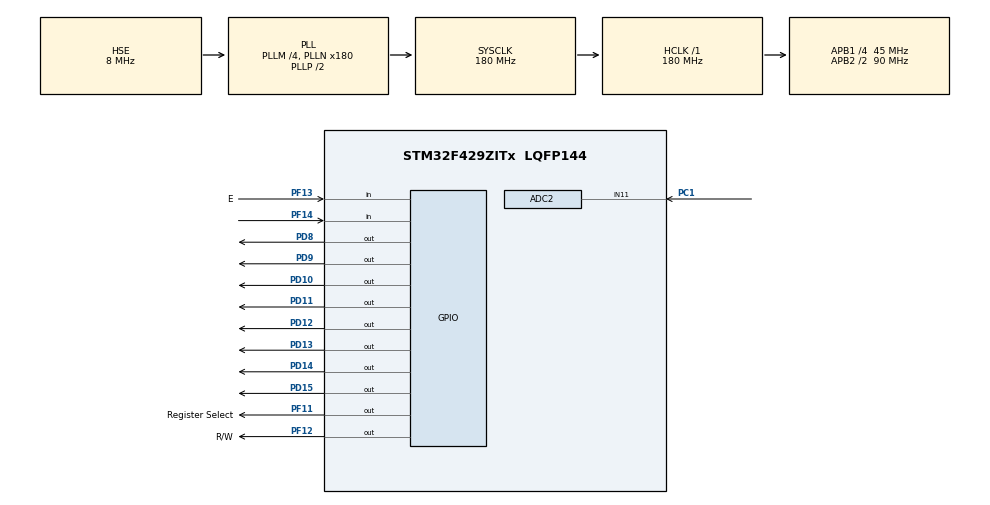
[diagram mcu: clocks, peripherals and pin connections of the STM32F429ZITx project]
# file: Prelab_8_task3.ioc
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ADC2.Channel-0\#ChannelRegularConversion=ADC_CHANNEL_11
ADC2.NbrOfConversionFlag=1
ADC2.Rank-0\#ChannelRegularConversion=1
ADC2.SamplingTime-0\#ChannelRegularConversion=ADC_SAMPLETIME_3CYCLES
Mcu.Family=STM32F4
Mcu.Name=STM32F429ZITx
Mcu.Package=LQFP144
NVIC.ADC_IRQn=true\:0\:0\:false\:false\:true\:true\:true\:true
NVIC.PriorityGroup=NVIC_PRIORITYGROUP_4
PC1.Signal=ADCx_IN11
PD10.Signal=GPIO_Output
PD11.Signal=GPIO_Output
PD12.Signal=GPIO_Output
PD13.Signal=GPIO_Output
PD14.Signal=GPIO_Output
PD15.Signal=GPIO_Output
PD8.Signal=GPIO_Output
PD9.Signal=GPIO_Output
PF11.GPIO_Label=Register Select
PF11.Signal=GPIO_Output
PF12.GPIO_Label=R/W
PF12.Signal=GPIO_Output
PF13.GPIO_Label=E
PF13.Signal=GPIO_Input
PF14.Signal=GPIO_Input
PH0/OSC_IN.Mode=HSE-External-Oscillator
PH0/OSC_IN.Signal=RCC_OSC_IN
PH1/OSC_OUT.Mode=HSE-External-Oscillator
PH1/OSC_OUT.Signal=RCC_OSC_OUT
ProjectManager.HeapSize=0x200
ProjectManager.StackSize=0x400
ProjectManager.TargetToolchain=EWARM V8.50
RCC.48MHZClocksFreq_Value=90000000
RCC.AHBFreq_Value=180000000
RCC.APB1CLKDivider=RCC_HCLK_DIV4
RCC.APB1Freq_Value=45000000
RCC.APB1TimFreq_Value=90000000
RCC.APB2CLKDivider=RCC_HCLK_DIV2
RCC.APB2Freq_Value=90000000
RCC.APB2TimFreq_Value=180000000
RCC.CortexFreq_Value=180000000
RCC.HCLKFreq_Value=180000000
RCC.HSE_VALUE=8000000
RCC.HSI_VALUE=16000000
RCC.LSE_VALUE=32768
RCC.PLLM=4
RCC.PLLN=180
RCC.PLLSourceVirtual=RCC_PLLSOURCE_HSE
RCC.SYSCLKFreq_VALUE=180000000
RCC.SYSCLKSource=RCC_SYSCLKSOURCE_PLLCLK
RCC.VCOOutputFreq_Value=360000000
SH.ADCx_IN11.0=ADC2_IN11,IN11
board=custom

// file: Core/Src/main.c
/* USER CODE BEGIN Header */
/**
  ******************************************************************************
  * @file           : main.c
  * @brief          : Main program body
  ******************************************************************************
  * @attention
  *
  * Copyright (c) 2023 STMicroelectronics.
  * All rights reserved.
  *
  * This software is licensed under terms that can be found in the LICENSE file
  * in the root directory of this software component.
  * If no LICENSE file comes with this software, it is provided AS-IS.
  *
  ******************************************************************************
  */
/* USER CODE END Header */
#include "main.h"

/* USER CODE BEGIN PD */
void LCD_init();
void LCD_SendCmd(uint8_t);
void LCD_SendData(uint8_t);
void int_to_str(uint8_t);
/* USER CODE END PD */

ADC_HandleTypeDef hadc2;

/* USER CODE BEGIN PV */
uint8_t data = 0;
uint16_t reading = 0;
uint8_t num_out[3];
/* USER CODE END PV */

void SystemClock_Config(void);
static void MX_GPIO_Init(void);
static void MX_ADC2_Init(void);

int main(void)
{

  /* MCU Configuration--------------------------------------------------------*/

  /* Reset of all peripherals, Initializes the Flash interface and the Systick. */
  HAL_Init();

  /* Configure the system clock */
  SystemClock_Config();

  /* Initialize all configured peripherals */
  MX_GPIO_Init();
  MX_ADC2_Init();
  /* USER CODE BEGIN 2 */
// PD8...PD15 is data out to display
// PF11 = RS, PF12 = R/W, PF13 = E for display
// ADC2 channel 11 is the ADC channel used (port PC1)
  LCD_init();
  /* USER CODE END 2 */

  /* Infinite loop */
  /* USER CODE BEGIN WHILE */
  while (1)
  {
    HAL_ADC_Start(&hadc2);
    reading = HAL_ADC_GetValue(&hadc2);
    data = (reading / 45); // convert from ADC value to temp in C
    int_to_str(data);
    LCD_SendCmd(0x01);
    for (int i=0; i<3; i++){
      LCD_SendData(num_out[i]);
    }
    //LCD_SendData('C');
    HAL_Delay(250); // delay for 250ms
    /* USER CODE END WHILE */

  }
}

void SystemClock_Config(void)
{
  RCC_OscInitTypeDef RCC_OscInitStruct = {0};
  RCC_ClkInitTypeDef RCC_ClkInitStruct = {0};

  /** Configure the main internal regulator output voltage
  */
  __HAL_RCC_PWR_CLK_ENABLE();
  __HAL_PWR_VOLTAGESCALING_CONFIG(PWR_REGULATOR_VOLTAGE_SCALE1);

  /** Initializes the RCC Oscillators according to the specified parameters
  * in the RCC_OscInitTypeDef structure.
  */
  RCC_OscInitStruct.OscillatorType = RCC_OSCILLATORTYPE_HSE;
  RCC_OscInitStruct.HSEState = RCC_HSE_ON;
  RCC_OscInitStruct.PLL.PLLState = RCC_PLL_ON;
  RCC_OscInitStruct.PLL.PLLSource = RCC_PLLSOURCE_HSE;
  RCC_OscInitStruct.PLL.PLLM = 4;
  RCC_OscInitStruct.PLL.PLLN = 180;
  RCC_OscInitStruct.PLL.PLLP = RCC_PLLP_DIV2;
  RCC_OscInitStruct.PLL.PLLQ = 4;
  if (HAL_RCC_OscConfig(&RCC_OscInitStruct) != HAL_OK)
  {
    Error_Handler();
  }

  /** Activate the Over-Drive mode
  */
  if (HAL_PWREx_EnableOverDrive() != HAL_OK)
  {
    Error_Handler();
  }

  /** Initializes the CPU, AHB and APB buses clocks
  */
  RCC_ClkInitStruct.ClockType = RCC_CLOCKTYPE_HCLK|RCC_CLOCKTYPE_SYSCLK
                              |RCC_CLOCKTYPE_PCLK1|RCC_CLOCKTYPE_PCLK2;
  RCC_ClkInitStruct.SYSCLKSource = RCC_SYSCLKSOURCE_PLLCLK;
  RCC_ClkInitStruct.AHBCLKDivider = RCC_SYSCLK_DIV1;
  RCC_ClkInitStruct.APB1CLKDivider = RCC_HCLK_DIV4;
  RCC_ClkInitStruct.APB2CLKDivider = RCC_HCLK_DIV2;

  if (HAL_RCC_ClockConfig(&RCC_ClkInitStruct, FLASH_LATENCY_5) != HAL_OK)
  {
    Error_Handler();
  }
}

static void MX_ADC2_Init(void)
{

  ADC_ChannelConfTypeDef sConfig = {0};

  /** Configure the global features of the ADC (Clock, Resolution, Data Alignment and number of conversion)
  */
  hadc2.Instance = ADC2;
  hadc2.Init.ClockPrescaler = ADC_CLOCK_SYNC_PCLK_DIV4;
  hadc2.Init.Resolution = ADC_RESOLUTION_12B;
  hadc2.Init.ScanConvMode = DISABLE;
  hadc2.Init.ContinuousConvMode = DISABLE;
  hadc2.Init.DiscontinuousConvMode = DISABLE;
  hadc2.Init.ExternalTrigConvEdge = ADC_EXTERNALTRIGCONVEDGE_NONE;
  hadc2.Init.ExternalTrigConv = ADC_SOFTWARE_START;
  hadc2.Init.DataAlign = ADC_DATAALIGN_RIGHT;
  hadc2.Init.NbrOfConversion = 1;
  hadc2.Init.DMAContinuousRequests = DISABLE;
  hadc2.Init.EOCSelection = ADC_EOC_SINGLE_CONV;
  if (HAL_ADC_Init(&hadc2) != HAL_OK)
  {
    Error_Handler();
  }

  /** Configure for the selected ADC regular channel its corresponding rank in the sequencer and its sample time.
  */
  sConfig.Channel = ADC_CHANNEL_11;
  sConfig.Rank = 1;
  sConfig.SamplingTime = ADC_SAMPLETIME_3CYCLES;
  if (HAL_ADC_ConfigChannel(&hadc2, &sConfig) != HAL_OK)
  {
    Error_Handler();
  }

}

static void MX_GPIO_Init(void)
{
  GPIO_InitTypeDef GPIO_InitStruct = {0};

  /* GPIO Ports Clock Enable */
  __HAL_RCC_GPIOH_CLK_ENABLE();
  __HAL_RCC_GPIOC_CLK_ENABLE();
  __HAL_RCC_GPIOF_CLK_ENABLE();
  __HAL_RCC_GPIOD_CLK_ENABLE();

  /*Configure GPIO pin Output Level */
  HAL_GPIO_WritePin(GPIOF, Register_Select_Pin|R_W_Pin, GPIO_PIN_RESET);

  /*Configure GPIO pin Output Level */
  HAL_GPIO_WritePin(GPIOD, GPIO_PIN_8|GPIO_PIN_9|GPIO_PIN_10|GPIO_PIN_11
                          |GPIO_PIN_12|GPIO_PIN_13|GPIO_PIN_14|GPIO_PIN_15, GPIO_PIN_RESET);

  /*Configure GPIO pins : Register_Select_Pin R_W_Pin */
  GPIO_InitStruct.Pin = Register_Select_Pin|R_W_Pin;
  GPIO_InitStruct.Mode = GPIO_MODE_OUTPUT_PP;
  GPIO_InitStruct.Pull = GPIO_NOPULL;
  GPIO_InitStruct.Speed = GPIO_SPEED_FREQ_LOW;
  HAL_GPIO_Init(GPIOF, &GPIO_InitStruct);

  /*Configure GPIO pins : E_Pin PF14 */
  GPIO_InitStruct.Pin = E_Pin|GPIO_PIN_14;
  GPIO_InitStruct.Mode = GPIO_MODE_INPUT;
  GPIO_InitStruct.Pull = GPIO_NOPULL;
  HAL_GPIO_Init(GPIOF, &GPIO_InitStruct);

  /*Configure GPIO pins : PD8 PD9 PD10 PD11
                           PD12 PD13 PD14 PD15 */
  GPIO_InitStruct.Pin = GPIO_PIN_8|GPIO_PIN_9|GPIO_PIN_10|GPIO_PIN_11
                          |GPIO_PIN_12|GPIO_PIN_13|GPIO_PIN_14|GPIO_PIN_15;
  GPIO_InitStruct.Mode = GPIO_MODE_OUTPUT_PP;
  GPIO_InitStruct.Pull = GPIO_NOPULL;
  GPIO_InitStruct.Speed = GPIO_SPEED_FREQ_LOW;
  HAL_GPIO_Init(GPIOD, &GPIO_InitStruct);

}

/* USER CODE BEGIN 4 */
void LCD_init(){  // from datasheet
  HAL_GPIO_WritePin(GPIOF, GPIO_PIN_13, GPIO_PIN_RESET); // set E = 0
  HAL_Delay(100);  // setup time
  LCD_SendCmd(0x30);
  HAL_Delay(30);
  LCD_SendCmd(0x30);
  HAL_Delay(10);
  LCD_SendCmd(0x30);
  HAL_Delay(10);
  LCD_SendCmd(0x38);
  LCD_SendCmd(0x80);
  LCD_SendCmd(0x0c);
  LCD_SendCmd(0x06);
}

void LCD_SendCmd(uint8_t cmd){
  GPIOD -> ODR = (cmd<<8)| (0x0000); // place the command in the correct portion of the output to write to the data port of LCD
  HAL_GPIO_WritePin(GPIOF, GPIO_PIN_11, GPIO_PIN_RESET); // set to command mode
  HAL_GPIO_WritePin(GPIOF, GPIO_PIN_12, GPIO_PIN_RESET); // set to write mode
  HAL_GPIO_WritePin(GPIOF, GPIO_PIN_13, GPIO_PIN_SET); // give an E pulse
  HAL_Delay(1);
  HAL_GPIO_WritePin(GPIOF, GPIO_PIN_13, GPIO_PIN_RESET);
}

void LCD_SendData(uint8_t i){
  GPIOD -> ODR = (i<<8)| (0x0000); // place the command in the correct portion of the output to write to the data port of LCD
  HAL_GPIO_WritePin(GPIOF, GPIO_PIN_11, GPIO_PIN_SET); // set to data mode
  HAL_GPIO_WritePin(GPIOF, GPIO_PIN_12, GPIO_PIN_RESET); // set to write mode
  HAL_GPIO_WritePin(GPIOF, GPIO_PIN_13, GPIO_PIN_SET); // give an E pulse
  HAL_Delay(1);
  HAL_GPIO_WritePin(GPIOF, GPIO_PIN_13, GPIO_PIN_RESET);
}

void int_to_str(uint8_t number) {
  int Hex_offset = 0x30;
  int first_dig = (number % 1000)/100;  //separate the hundreds digit
  first_dig = first_dig + Hex_offset;
  num_out[0] = first_dig;
  int second_dig = (number % 100)/10 ; //separate the tens digit
  second_dig = second_dig + Hex_offset;
  num_out[1] = second_dig;
  int third_dig = number % 10;  // separate the ones place
  third_dig = third_dig + Hex_offset;
  num_out[2] = third_dig;
}
/* USER CODE END 4 */

void Error_Handler(void)
{
  __disable_irq();
  while (1)
  {
  }
}
